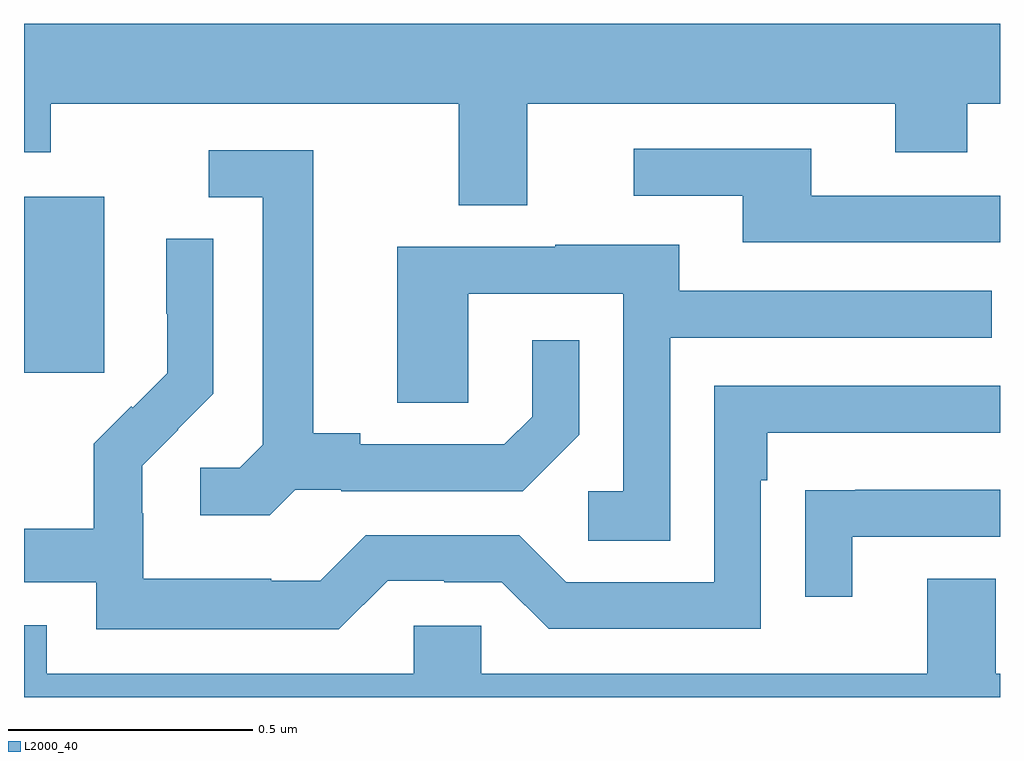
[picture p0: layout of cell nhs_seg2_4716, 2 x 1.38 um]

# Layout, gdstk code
import gdstk
lib = gdstk.Library(unit=1e-6, precision=1e-09)
def R(c, l, rs):  # rectangles x0, y0, x1, y1
    for r in rs: c.add(gdstk.rectangle(r[:2], r[2:], *l))
def P(c, l, *ps):  # polygons
    for p in ps: c.add(gdstk.Polygon(p, *l))
L2000_40 = (2000, 40)

nhs_seg2_4716 = lib.new_cell('nhs_seg2_4716')
R(nhs_seg2_4716, L2000_40, [(170,600.465,170.164,600.826)])
P(nhs_seg2_4716, L2000_40, [(171.031,601.016),(171.785,601.016),(171.785,600.917),(171.933,600.917),(171.933,601.016),(172,601.016),(172,601.18),(170,601.18),(170,600.917),(170.055,600.917),(170.055,601.016),(170.891,601.016),(170.891,600.808),(171.031,600.808)],
  [(172,600.828),(171.613,600.828),(171.613,600.924),(171.249,600.924),(171.249,600.828),(171.473,600.828),(171.473,600.732),(172,600.732)],
  [(170.556,600.225),(170.65,600.225),(170.65,600.222),(171.022,600.222),(171.138,600.338),(171.138,600.532),(171.041,600.532),(171.041,600.375),(170.984,600.318),(170.689,600.318),(170.689,600.341),(170.593,600.341),(170.593,600.921),(170.379,600.921),(170.379,600.825),(170.489,600.825),(170.489,600.317),(170.442,600.27),(170.361,600.27),(170.361,600.173),(170.504,600.173)],
  [(170.745,600.039),(170.861,600.039),(170.861,600.036),(170.979,600.036),(171.075,599.94),(171.51,599.94),(171.51,600.245),(171.523,600.245),(171.523,600.342),(172,600.342),(172,600.438),(171.414,600.438),(171.414,600.036),(171.111,600.036),(171.015,600.132),(170.7,600.132),(170.607,600.039),(170.507,600.039),(170.507,600.043),(170.244,600.043),(170.244,600.177),(170.242,600.177),(170.242,600.274),(170.316,600.348),(170.315,600.349),(170.388,600.422),(170.388,600.74),(170.292,600.74),(170.292,600.586),(170.294,600.586),(170.294,600.464),(170.223,600.393),(170.22,600.396),(170.143,600.319),(170.143,600.145),(170,600.145),(170,600.036),(170.148,600.036),(170.148,599.939),(170.645,599.939)],
  [(171.324,600.537),(171.983,600.537),(171.983,600.633),(171.343,600.633),(171.343,600.727),(171.089,600.727),(171.089,600.723),(170.765,600.723),(170.765,600.403),(170.91,600.403),(170.91,600.627),(171.228,600.627),(171.228,600.222),(171.156,600.222),(171.156,600.121),(171.324,600.121)],
  [(171.697,600.129),(172,600.129),(172,600.225),(171.703,600.225),(171.703,600.224),(171.601,600.224),(171.601,600.006),(171.697,600.006)],
  [(172,599.848),(171.991,599.848),(171.991,600.043),(171.851,600.043),(171.851,599.848),(170.937,599.848),(170.937,599.946),(170.799,599.946),(170.799,599.848),(170.047,599.848),(170.047,599.947),(170,599.947),(170,599.8),(172,599.8)])

lib.write_gds('nhs_seg2_4716.gds')
